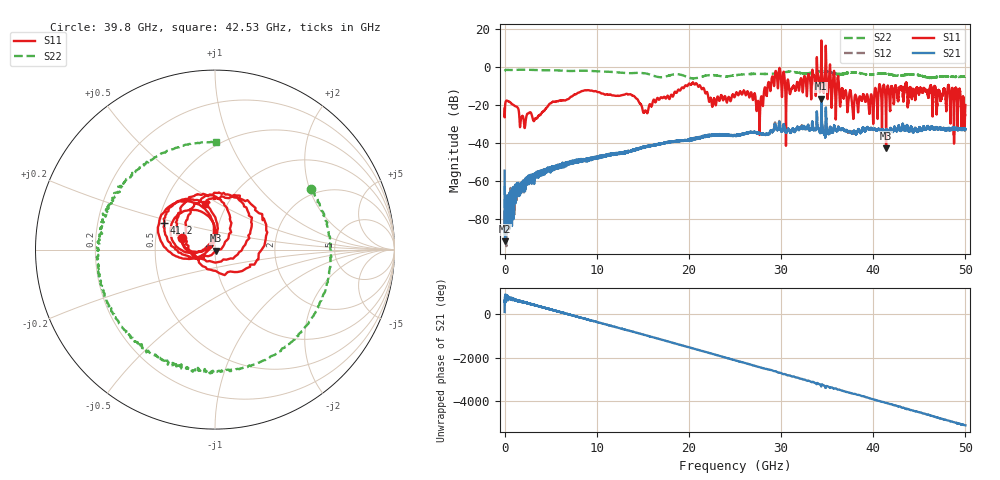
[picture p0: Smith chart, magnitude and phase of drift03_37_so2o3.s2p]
!Created with skrf (http://scikit-rf.org).
# Hz S RI R 50.0
!freq ReS11 ImS11 ReS21 ImS21 ReS12 ImS12 ReS22 ImS22
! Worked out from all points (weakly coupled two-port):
!   10001 points, 300 kHz to 50 GHz, reference 50 ohm
!   highest |S21| = -16.50 dB at 34.37 GHz (marker M1); lowest = -91.4 dB at 55.3 MHz (marker M2)
!   lowest |S11| = -42.6 dB at 41.4 GHz (marker M3), VSWR 1.01, Z = 50.4 - j0.62 ohm
!   |S11| at or under -10 dB: start of sweep to 19.55 GHz; 21.25 GHz to 28.55 GHz (7.296 GHz wide, 29.3 % of centre); 36.28 GHz to 40.62 GHz (4.34 GHz wide, 11.3 % of centre) (the widest 3 of 41)
!   |S22| runs from -5.9 to -1.3 dB; largest |S21 - S12| = 0.028
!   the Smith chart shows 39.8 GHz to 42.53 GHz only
!   S11 on the Smith chart (normalised r, x): 39.8 GHz: 0.69, +0.09; 41.2 GHz: 0.54, +0.18; 42.53 GHz: 0.79, +0.43
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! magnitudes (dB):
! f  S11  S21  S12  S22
! 300 kHz  -21.7  -54.4  -62.6  -2.1
! 55.3 MHz  -20.0  -91.4  -86.6  -1.6
! 275.3 MHz  -17.6  -82.6  -80.3  -1.4
! 3.3 GHz  -27.3  -56.1  -57.3  -1.5
! 8.335 GHz  -12.6  -49.0  -49.2  -1.9
! 13.75 GHz  -14.5  -44.2  -44.0  -3.1
! 15.29 GHz  -22.8  -41.9  -41.7  -3.3
! 16.67 GHz  -16.5  -40.5  -40.6  -5.2
! 20.26 GHz  -9.2  -38.4  -37.9  -5.8
! 22.71 GHz  -16.4  -35.8  -35.7  -4.2
! 25 GHz  -15.3  -35.8  -35.6  -4.3
! 27.52 GHz  -17.8  -34.6  -34.5  -3.5
! 29.28 GHz  -8.6  -31.4  -30.6  -3.3
! 30.73 GHz  -6.5  -32.5  -32.6  -2.5
! 33.34 GHz  -7.6  -31.3  -31.2  -2.9
! 34.37 GHz  14.0  -16.5  -17.7  -2.3
! 39.8 GHz  -14.3  -32.0  -32.1  -4.0
! 41.2 GHz  -9.9  -34.0  -34.0  -3.3
! 41.4 GHz  -42.6  -32.8  -32.6  -3.4
! 41.67 GHz  -11.4  -34.2  -34.1  -3.6
! 42.53 GHz  -11.6  -33.6  -33.4  -4.5
! 50 GHz  -19.9  -32.5  -33.0  -5.0
